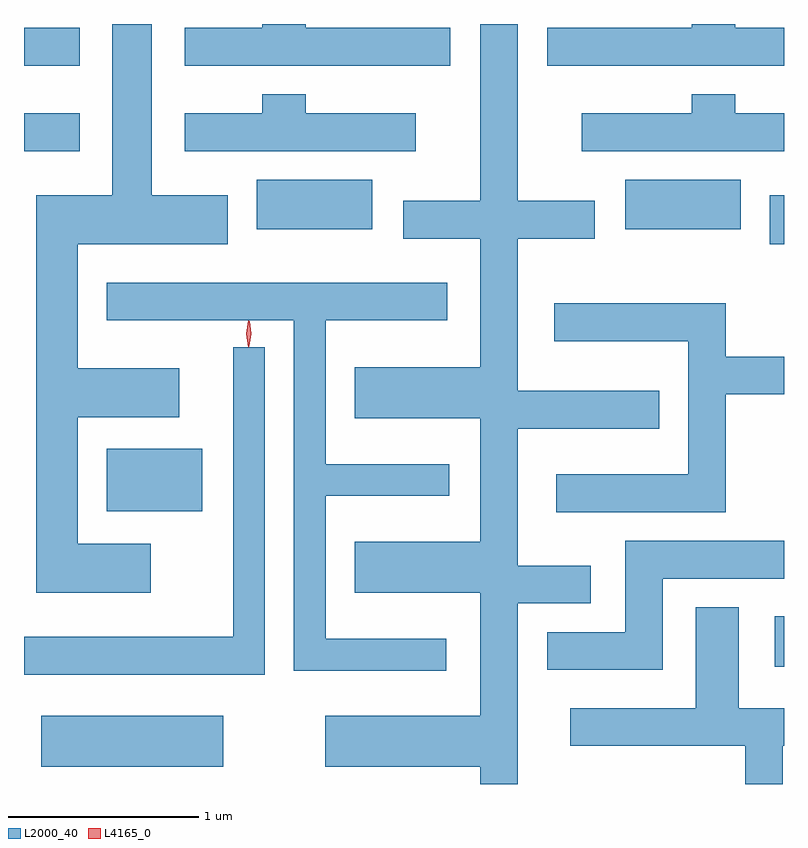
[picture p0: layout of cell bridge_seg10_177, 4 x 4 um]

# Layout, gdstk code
import gdstk
lib = gdstk.Library(unit=1e-6, precision=1e-09)
def R(c, l, rs):  # rectangles x0, y0, x1, y1
    for r in rs: c.add(gdstk.rectangle(r[:2], r[2:], *l))
def P(c, l, *ps):  # polygons
    for p in ps: c.add(gdstk.Polygon(p, *l))
L2000_40 = (2000, 40)
L4165_0 = (4165, 0)

bridge_seg10_177 = lib.new_cell('bridge_seg10_177')
R(bridge_seg10_177, L2000_40, [(1855.541,2139.966,1856.499,2140.234), (1859.401,2140.491,1859.451,2140.759), (1855.886,2141.311,1856.389,2141.639), (1859.376,2142.716,1859.451,2142.974), (1856.676,2142.796,1857.284,2143.054), (1858.616,2142.796,1859.224,2143.054), (1855.451,2143.206,1855.744,2143.404), (1855.451,2143.656,1855.744,2143.854)])
P(bridge_seg10_177, L2000_40, [(1858.049,2140.826),(1858.434,2140.826),(1858.434,2141.024),(1858.049,2141.024),(1858.049,2141.746),(1858.794,2141.746),(1858.794,2141.944),(1858.049,2141.944),(1858.049,2142.746),(1858.454,2142.746),(1858.454,2142.944),(1858.049,2142.944),(1858.049,2143.875),(1857.851,2143.875),(1857.851,2142.944),(1857.446,2142.944),(1857.446,2142.746),(1857.851,2142.746),(1857.851,2142.069),(1857.191,2142.069),(1857.191,2141.801),(1857.851,2141.801),(1857.851,2141.149),(1857.191,2141.149),(1857.191,2140.881),(1857.851,2140.881),(1857.851,2140.234),(1857.036,2140.234),(1857.036,2139.966),(1857.851,2139.966),(1857.851,2139.875),(1858.049,2139.875)],
  [(1856.119,2141.139),(1855.734,2141.139),(1855.734,2141.806),(1856.269,2141.806),(1856.269,2142.064),(1855.734,2142.064),(1855.734,2142.716),(1856.524,2142.716),(1856.524,2142.974),(1856.124,2142.974),(1856.124,2143.875),(1855.916,2143.875),(1855.916,2142.974),(1855.516,2142.974),(1855.516,2140.881),(1856.119,2140.881)],
  [(1857.694,2143.854),(1856.934,2143.854),(1856.934,2143.875),(1856.706,2143.875),(1856.706,2143.854),(1856.296,2143.854),(1856.296,2143.656),(1857.694,2143.656)],
  [(1859.451,2143.854),(1859.194,2143.854),(1859.194,2143.875),(1858.966,2143.875),(1858.966,2143.854),(1858.206,2143.854),(1858.206,2143.656),(1859.451,2143.656)],
  [(1857.514,2143.404),(1856.934,2143.404),(1856.934,2143.504),(1856.706,2143.504),(1856.706,2143.404),(1856.296,2143.404),(1856.296,2143.206),(1857.514,2143.206)],
  [(1859.451,2143.404),(1859.194,2143.404),(1859.194,2143.504),(1858.966,2143.504),(1858.966,2143.404),(1858.386,2143.404),(1858.386,2143.206),(1859.451,2143.206)],
  [(1857.673,2140.639),(1857.039,2140.639),(1857.039,2141.391),(1857.688,2141.391),(1857.688,2141.559),(1857.039,2141.559),(1857.039,2142.316),(1857.679,2142.316),(1857.679,2142.514),(1855.886,2142.514),(1855.886,2142.316),(1856.871,2142.316),(1856.871,2140.471),(1857.673,2140.471)],
  [(1859.144,2141.926),(1859.451,2141.926),(1859.451,2142.124),(1859.144,2142.124),(1859.144,2142.404),(1858.241,2142.404),(1858.241,2142.206),(1858.946,2142.206),(1858.946,2141.504),(1858.251,2141.504),(1858.251,2141.306),(1859.144,2141.306)],
  [(1856.719,2142.173),(1856.551,2142.173),(1856.551,2140.649),(1855.451,2140.649),(1855.451,2140.451),(1856.719,2140.451)],
  [(1858.814,2140.956),(1859.451,2140.956),(1859.451,2141.154),(1858.616,2141.154),(1858.616,2140.674),(1858.206,2140.674),(1858.206,2140.476),(1858.814,2140.476)],
  [(1859.444,2140.076),(1859.451,2140.076),(1859.451,2140.274),(1859.214,2140.274),(1859.214,2140.804),(1858.986,2140.804),(1858.986,2140.274),(1858.326,2140.274),(1858.326,2140.076),(1859.246,2140.076),(1859.246,2139.875),(1859.444,2139.875)])
P(bridge_seg10_177, L4165_0, [(1856.632,2142.174),(1856.632,2142.175),(1856.622,2142.244),(1856.632,2142.313),(1856.632,2142.314),(1856.633,2142.313),(1856.642,2142.244),(1856.633,2142.175)],
  [(1856.636,2142.178),(1856.627,2142.244),(1856.637,2142.31),(1856.637,2142.311),(1856.638,2142.31),(1856.647,2142.244),(1856.637,2142.178),(1856.637,2142.178)])

lib.write_gds('bridge_seg10_177.gds')
